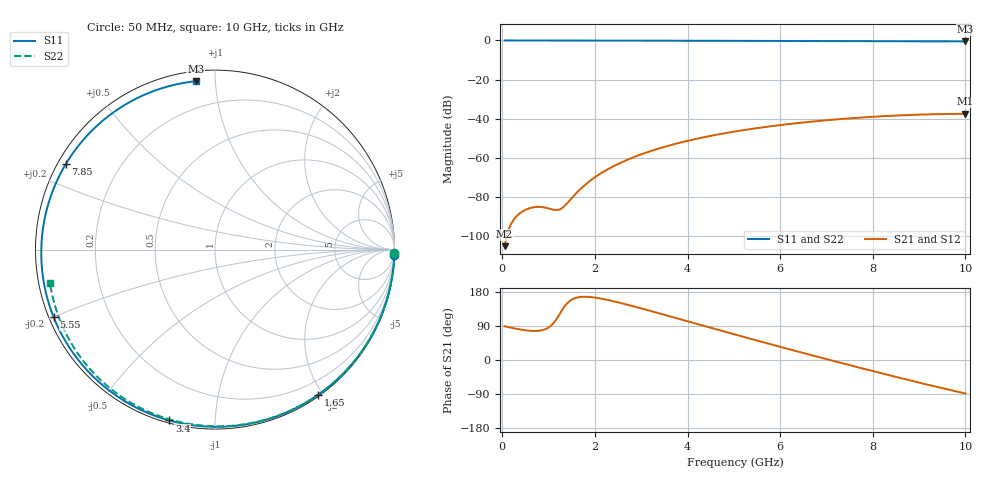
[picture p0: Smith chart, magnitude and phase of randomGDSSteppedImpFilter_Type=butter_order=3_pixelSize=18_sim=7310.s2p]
! freq	dB(S11)	phase(S11)	dB(S12)	phase(S12)
!  dB(S21)	phase(S21)	dB(S22)	phase(S22)
!S-par simulation data
#  GHz  S  DB  R 50
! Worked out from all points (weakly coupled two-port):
!   200 points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, 50 MHz to 10 GHz, reference 50 ohm
!   highest |S21| = -37.51 dB at 10 GHz (marker M1); lowest = -105.2 dB at 50 MHz (marker M2)
!   lowest |S11| = -0.5 dB at 10 GHz (marker M3), VSWR 34.88, Z = 2.57 + j44.6 ohm
!   |S11| at or under -10 dB: nowhere
!   |S22| runs from -0.6 to 0.0 dB; largest |S21 - S12| = 0
!   S11 on the Smith chart (normalised r, x): 50 MHz: 0, -66; 1.65 GHz: 0.02, -1.94; 3.4 GHz: 0.01, -0.77; 5.55 GHz: 0.01, -0.20; 7.85 GHz: 0.02, +0.27; 10 GHz: 0.05, +0.89
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0.05  -0.00 -1.7  -105.24 88.9  -105.24 88.9  -0.00 -1.0
0.4  -0.02 -13.6  -88.06 80.3  -88.06 80.3  -0.01 -7.7
0.75  -0.03 -25.4  -85.16 76.7  -85.16 76.7  -0.02 -14.4
1.15  -0.05 -38.6  -86.74 104.2  -86.74 104.2  -0.03 -22.1
1.5  -0.06 -49.8  -80.64 159.2  -80.64 159.2  -0.04 -28.7
1.55  -0.06 -51.4  -79.33 162.2  -79.33 162.2  -0.04 -29.6
1.65  -0.07 -54.5  -76.88 165.7  -76.88 165.7  -0.04 -31.5
1.75  -0.07 -57.7  -74.65 166.9  -74.65 166.9  -0.04 -33.4
2.05  -0.08 -66.8  -69.19 163.8  -69.19 163.8  -0.05 -38.9
2.45  -0.09 -78.7  -63.77 153.6  -63.77 153.6  -0.06 -46.2
2.9  -0.11 -91.4  -59.14 139.5  -59.14 139.5  -0.07 -54.4
3.4  -0.13 -105.0  -55.14 122.7  -55.14 122.7  -0.08 -63.2
4.25  -0.16 -126.6  -50.03 93.6  -50.03 93.6  -0.11 -77.8
5.05  -0.20 -145.7  -46.47 66.4  -46.47 66.4  -0.14 -91.0
5.55  -0.22 -157.3  -44.68 49.7  -44.68 49.7  -0.16 -99.1
6.15  -0.26 -170.9  -42.87 29.8  -42.87 29.8  -0.19 -108.6
6.7  -0.29 176.6  -41.48 12.0  -41.48 12.0  -0.23 -117.2
7.25  -0.33 164.1  -40.32 -5.6  -40.32 -5.6  -0.27 -125.7
7.85  -0.37 150.2  -39.28 -24.5  -39.28 -24.5  -0.32 -134.9
8.35  -0.40 138.3  -38.60 -40.0  -38.60 -40.0  -0.36 -142.6
9.2  -0.46 117.3  -37.82 -65.6  -37.82 -65.6  -0.46 -155.8
10  -0.50 96.5  -37.51 -88.4  -37.51 -88.4  -0.56 -168.7
